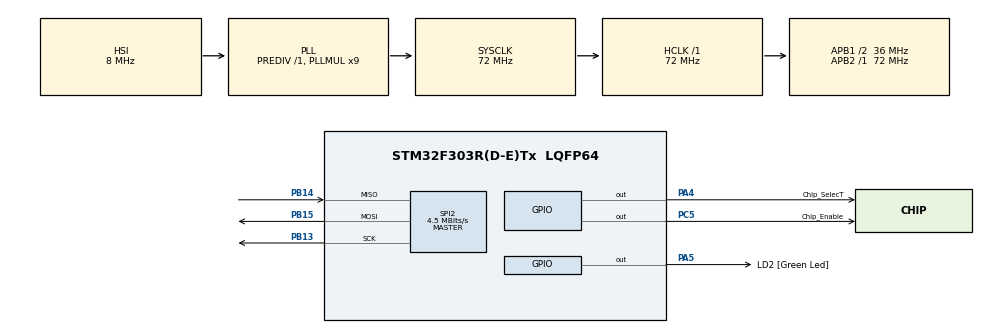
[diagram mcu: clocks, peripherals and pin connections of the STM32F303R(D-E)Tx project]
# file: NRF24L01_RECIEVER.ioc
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Mcu.Family=STM32F3
Mcu.Name=STM32F303R(D-E)Tx
Mcu.Package=LQFP64
NVIC.PriorityGroup=NVIC_PRIORITYGROUP_0
PA13.GPIO_Label=TMS
PA13.Mode=Serial_Wire
PA13.Signal=SYS_JTMS-SWDIO
PA14.GPIO_Label=TCK
PA14.Mode=Serial_Wire
PA14.Signal=SYS_JTCK-SWCLK
PA4.GPIO_Label=Chip_SelecT
PA4.GPIO_PuPd=GPIO_PULLUP
PA4.PinState=GPIO_PIN_SET
PA4.Signal=GPIO_Output
PA5.GPIO_Label=LD2 [Green Led]
PA5.GPIO_Mode=GPIO_MODE_OUTPUT_PP
PA5.GPIO_PuPd=GPIO_NOPULL
PA5.GPIO_Speed=GPIO_SPEED_FREQ_LOW
PA5.Signal=GPIO_Output
PB13.Mode=Full_Duplex_Master
PB13.Signal=SPI2_SCK
PB14.Mode=Full_Duplex_Master
PB14.Signal=SPI2_MISO
PB15.Mode=Full_Duplex_Master
PB15.Signal=SPI2_MOSI
PB3.GPIO_Label=SWO
PB3.Signal=SYS_JTDO-TRACESWO
PC14-OSC32_IN.Mode=LSE-External-Oscillator
PC14-OSC32_IN.Signal=RCC_OSC32_IN
PC15-OSC32_OUT.Mode=LSE-External-Oscillator
PC15-OSC32_OUT.Signal=RCC_OSC32_OUT
PC5.GPIO_Label=Chip_Enable
PC5.GPIO_PuPd=GPIO_PULLDOWN
PC5.Signal=GPIO_Output
PF0-OSC_IN.Mode=HSE-External-Oscillator
PF0-OSC_IN.Signal=RCC_OSC_IN
PF1-OSC_OUT.Mode=HSE-External-Oscillator
PF1-OSC_OUT.Signal=RCC_OSC_OUT
ProjectManager.HeapSize=0x200
ProjectManager.StackSize=0x400
ProjectManager.TargetToolchain=STM32CubeIDE
RCC.AHBFreq_Value=72000000
RCC.APB1CLKDivider=RCC_HCLK_DIV2
RCC.APB1Freq_Value=36000000
RCC.APB1TimFreq_Value=72000000
RCC.APB2Freq_Value=72000000
RCC.APB2TimFreq_Value=72000000
RCC.CortexFreq_Value=72000000
RCC.HCLKFreq_Value=72000000
RCC.HSE_VALUE=8000000
RCC.HSI_VALUE=8000000
RCC.PLLM=8
RCC.PLLMUL=RCC_PLL_MUL9
RCC.PLLN=336
RCC.PLLP=RCC_PLLP_DIV4
RCC.PLLQ=7
RCC.RCC_PLLsource_Clock_Source_FROM_HSE=RCC_HSE_PREDIV_DIV2
RCC.SYSCLKFreq_VALUE=72000000
RCC.SYSCLKSourceVirtual=RCC_SYSCLKSOURCE_PLLCLK
RCC.USBFreq_Value=72000000
SPI2.BaudRatePrescaler=SPI_BAUDRATEPRESCALER_8
SPI2.CalculateBaudRate=4.5 MBits/s
SPI2.DataSize=SPI_DATASIZE_8BIT
SPI2.Direction=SPI_DIRECTION_2LINES
SPI2.Mode=SPI_MODE_MASTER
SPI2.VirtualType=VM_MASTER
board=NUCLEO-F303RE

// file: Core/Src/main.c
/* USER CODE BEGIN Header */
/**
  ******************************************************************************
  * @file           : main.c
  * @brief          : Main program body
  ******************************************************************************
  * @attention
  *
  * Copyright (c) 2024 STMicroelectronics.
  * All rights reserved.
  *
  * This software is licensed under terms that can be found in the LICENSE file
  * in the root directory of this software component.
  * If no LICENSE file comes with this software, it is provided AS-IS.
  *
  ******************************************************************************
  */
/* USER CODE END Header */
#include "main.h"

/* USER CODE BEGIN Includes */
#include "NRF24L01.h"
#include "string.h"
#include "stdio.h"
/* USER CODE END Includes */

SPI_HandleTypeDef hspi2;

void SystemClock_Config(void);
static void MX_GPIO_Init(void);
static void MX_SPI2_Init(void);

/* USER CODE BEGIN 0 */

uint8_t RxAddress_P1[] = {0xAA, 0xBB, 0xCC, 0xDD, 0x11};  // Address for Pipe 1
uint8_t RxAddress_P2 = 0xEE;  // LSB for Pipe 2
uint8_t RxData[32];  // Buffer for received data

uint8_t data[50];

/* USER CODE END 0 */

int main(void)
{

  /* MCU Configuration--------------------------------------------------------*/

  /* Reset of all peripherals, Initializes the Flash interface and the Systick. */
  HAL_Init();

  /* Configure the system clock */
  SystemClock_Config();

  /* Initialize all configured peripherals */
  MX_GPIO_Init();
  MX_SPI2_Init();
  /* USER CODE BEGIN 2 */

  NRF24_Init();

  NRF24_RxMode(RxAddress_P1, 10);

  NRF24_ReadAll(data);

  /* USER CODE END 2 */

  /* Infinite loop */
  while (1)
  {

    /* USER CODE BEGIN 3 */

	  printf("Registers Reading \n");
	  printf("\n");
	       NRF24_PrintReceiverRegisters();

	 	  if (isDataAvailable(1) == 1)
	 	 	  {
	 		  NRF24_Receive(RxData);

	    		// Ensure the received data is null-terminated to be printed correctly
	    		    RxData[31] = '\0';  // Assuming NRF24_Receive fills the entire buffer, add null terminator

	    		    // Print received data using printf
	    			printf("\n");
	    		    printf("%s", RxData);
	    	  }

  }
  /* USER CODE END 3 */
}

void SystemClock_Config(void)
{
  RCC_OscInitTypeDef RCC_OscInitStruct = {0};
  RCC_ClkInitTypeDef RCC_ClkInitStruct = {0};

  /** Initializes the RCC Oscillators according to the specified parameters
  * in the RCC_OscInitTypeDef structure.
  */
  RCC_OscInitStruct.OscillatorType = RCC_OSCILLATORTYPE_HSI;
  RCC_OscInitStruct.HSIState = RCC_HSI_ON;
  RCC_OscInitStruct.HSICalibrationValue = RCC_HSICALIBRATION_DEFAULT;
  RCC_OscInitStruct.PLL.PLLState = RCC_PLL_ON;
  RCC_OscInitStruct.PLL.PLLSource = RCC_PLLSOURCE_HSI;
  RCC_OscInitStruct.PLL.PLLMUL = RCC_PLL_MUL9;
  RCC_OscInitStruct.PLL.PREDIV = RCC_PREDIV_DIV1;
  if (HAL_RCC_OscConfig(&RCC_OscInitStruct) != HAL_OK)
  {
    Error_Handler();
  }

  /** Initializes the CPU, AHB and APB buses clocks
  */
  RCC_ClkInitStruct.ClockType = RCC_CLOCKTYPE_HCLK|RCC_CLOCKTYPE_SYSCLK
                              |RCC_CLOCKTYPE_PCLK1|RCC_CLOCKTYPE_PCLK2;
  RCC_ClkInitStruct.SYSCLKSource = RCC_SYSCLKSOURCE_PLLCLK;
  RCC_ClkInitStruct.AHBCLKDivider = RCC_SYSCLK_DIV1;
  RCC_ClkInitStruct.APB1CLKDivider = RCC_HCLK_DIV2;
  RCC_ClkInitStruct.APB2CLKDivider = RCC_HCLK_DIV1;

  if (HAL_RCC_ClockConfig(&RCC_ClkInitStruct, FLASH_LATENCY_2) != HAL_OK)
  {
    Error_Handler();
  }
}

static void MX_SPI2_Init(void)
{

  /* SPI2 parameter configuration*/
  hspi2.Instance = SPI2;
  hspi2.Init.Mode = SPI_MODE_MASTER;
  hspi2.Init.Direction = SPI_DIRECTION_2LINES;
  hspi2.Init.DataSize = SPI_DATASIZE_8BIT;
  hspi2.Init.CLKPolarity = SPI_POLARITY_LOW;
  hspi2.Init.CLKPhase = SPI_PHASE_1EDGE;
  hspi2.Init.NSS = SPI_NSS_SOFT;
  hspi2.Init.BaudRatePrescaler = SPI_BAUDRATEPRESCALER_8;
  hspi2.Init.FirstBit = SPI_FIRSTBIT_MSB;
  hspi2.Init.TIMode = SPI_TIMODE_DISABLE;
  hspi2.Init.CRCCalculation = SPI_CRCCALCULATION_DISABLE;
  hspi2.Init.CRCPolynomial = 7;
  hspi2.Init.CRCLength = SPI_CRC_LENGTH_DATASIZE;
  hspi2.Init.NSSPMode = SPI_NSS_PULSE_ENABLE;
  if (HAL_SPI_Init(&hspi2) != HAL_OK)
  {
    Error_Handler();
  }

}

static void MX_GPIO_Init(void)
{
  GPIO_InitTypeDef GPIO_InitStruct = {0};

  /* GPIO Ports Clock Enable */
  __HAL_RCC_GPIOC_CLK_ENABLE();
  __HAL_RCC_GPIOF_CLK_ENABLE();
  __HAL_RCC_GPIOA_CLK_ENABLE();
  __HAL_RCC_GPIOB_CLK_ENABLE();

  /*Configure GPIO pin Output Level */
  HAL_GPIO_WritePin(Chip_SelecT_GPIO_Port, Chip_SelecT_Pin, GPIO_PIN_SET);

  /*Configure GPIO pin Output Level */
  HAL_GPIO_WritePin(LD2_GPIO_Port, LD2_Pin, GPIO_PIN_RESET);

  /*Configure GPIO pin Output Level */
  HAL_GPIO_WritePin(Chip_Enable_GPIO_Port, Chip_Enable_Pin, GPIO_PIN_RESET);

  /*Configure GPIO pin : Chip_SelecT_Pin */
  GPIO_InitStruct.Pin = Chip_SelecT_Pin;
  GPIO_InitStruct.Mode = GPIO_MODE_OUTPUT_PP;
  GPIO_InitStruct.Pull = GPIO_PULLUP;
  GPIO_InitStruct.Speed = GPIO_SPEED_FREQ_LOW;
  HAL_GPIO_Init(Chip_SelecT_GPIO_Port, &GPIO_InitStruct);

  /*Configure GPIO pin : LD2_Pin */
  GPIO_InitStruct.Pin = LD2_Pin;
  GPIO_InitStruct.Mode = GPIO_MODE_OUTPUT_PP;
  GPIO_InitStruct.Pull = GPIO_NOPULL;
  GPIO_InitStruct.Speed = GPIO_SPEED_FREQ_LOW;
  HAL_GPIO_Init(LD2_GPIO_Port, &GPIO_InitStruct);

  /*Configure GPIO pin : Chip_Enable_Pin */
  GPIO_InitStruct.Pin = Chip_Enable_Pin;
  GPIO_InitStruct.Mode = GPIO_MODE_OUTPUT_PP;
  GPIO_InitStruct.Pull = GPIO_PULLDOWN;
  GPIO_InitStruct.Speed = GPIO_SPEED_FREQ_LOW;
  HAL_GPIO_Init(Chip_Enable_GPIO_Port, &GPIO_InitStruct);

}

/* USER CODE BEGIN 4 */

int _write(int file, char *ptr, int len)
{
  (void)file;
  int DataIdx;

  for (DataIdx = 0; DataIdx < len; DataIdx++)
  {
    ITM_SendChar(*ptr++);
  }
  return len;
}

/* USER CODE END 4 */

void Error_Handler(void)
{
  __disable_irq();
  while (1)
  {
  }
}
